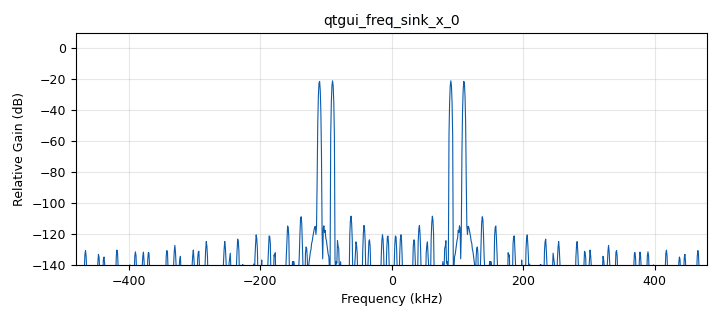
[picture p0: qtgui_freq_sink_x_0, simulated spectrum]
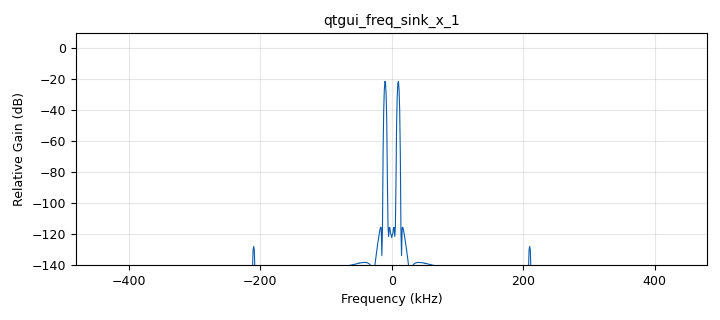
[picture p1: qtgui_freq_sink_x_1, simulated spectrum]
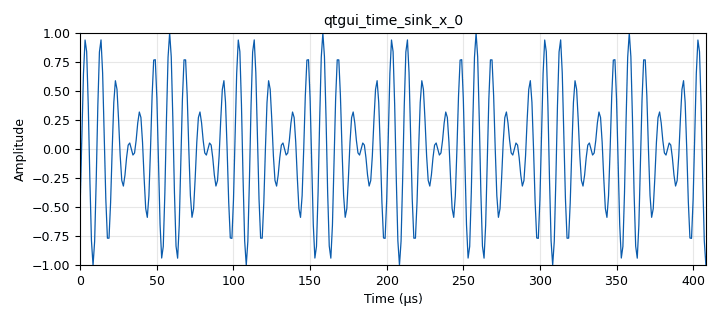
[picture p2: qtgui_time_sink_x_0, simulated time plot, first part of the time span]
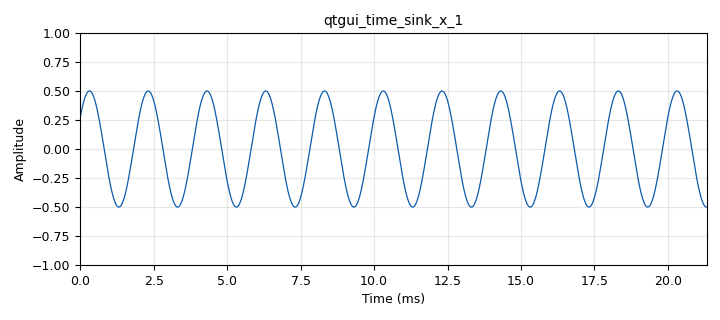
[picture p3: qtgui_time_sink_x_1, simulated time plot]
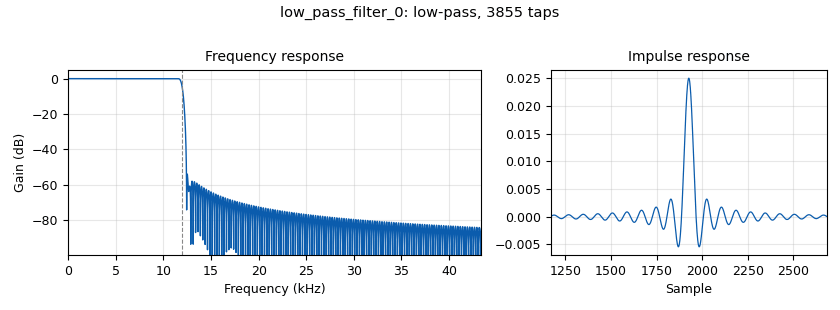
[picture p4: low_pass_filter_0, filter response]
options:
  parameters:
    generate_options: qt_gui
    id: dsbsc
    output_language: python
    title: Not titled yet
  states: {}

blocks:
- name: ka
  id: variable_qtgui_range
  parameters:
    start: '0'
    step: '0.1'
    stop: '1.2'
    value: '0.5'
  states: {}
- name: q_rate
  id: variable
  parameters:
    value: int(960e3)
  states: {}
- name: samp_rate
  id: variable
  parameters:
    value: '48000'
  states: {}
- name: analog_sig_source_x_0
  id: analog_sig_source_x
  parameters:
    amp: '1'
    freq: 100e3
    offset: '0'
    phase: '0'
    samp_rate: q_rate
    type: float
    waveform: analog.GR_COS_WAVE
  states: {}
- name: blocks_add_xx_0
  id: blocks_add_xx
  parameters:
    type: float
  states: {state: disabled}
- name: blocks_multiply_xx_0
  id: blocks_multiply_xx
  parameters:
    type: float
  states: {}
- name: blocks_multiply_xx_0_0
  id: blocks_multiply_xx
  parameters:
    type: float
  states: {}
- name: low_pass_filter_0
  id: low_pass_filter
  parameters:
    cutoff_freq: '12000'
    gain: '1'
    interp: '1'
    samp_rate: q_rate
    type: interp_fir_filter_fff
    width: '600'
    win: window.WIN_HAMMING
  states: {}
- name: message
  id: analog_sig_source_x
  parameters:
    amp: '1'
    freq: '10000'
    offset: '0'
    phase: '0'
    samp_rate: samp_rate
    type: float
    waveform: analog.GR_COS_WAVE
  states: {}
- name: mod_fac
  id: blocks_multiply_const_vxx
  parameters:
    const: ka
    type: float
  states: {state: bypassed}
- name: qtgui_freq_sink_x_0
  id: qtgui_freq_sink_x
  parameters:
    bw: q_rate
    fc: '0'
    fftsize: '1024'
    type: float
  states: {}
- name: qtgui_freq_sink_x_0_0
  id: qtgui_freq_sink_x
  parameters:
    bw: q_rate
    fc: '0'
    fftsize: '1024'
    type: float
  states: {state: disabled}
- name: qtgui_freq_sink_x_1
  id: qtgui_freq_sink_x
  parameters:
    bw: q_rate
    fc: '0'
    fftsize: '1024'
    type: float
  states: {}
- name: qtgui_time_sink_x_0
  id: qtgui_time_sink_x
  parameters:
    size: '1024'
    srate: q_rate
    type: float
  states: {}
- name: qtgui_time_sink_x_1
  id: qtgui_time_sink_x
  parameters:
    size: '1024'
    srate: samp_rate
    type: float
  states: {}
- name: rational_resampler_xxx_0
  id: rational_resampler_xxx
  parameters:
    decim: samp_rate
    interp: q_rate
    type: fff
  states: {}

connections:
- [analog_sig_source_x_0, '0', blocks_add_xx_0, '1']
- [analog_sig_source_x_0, '0', blocks_multiply_xx_0, '1']
- [analog_sig_source_x_0, '0', blocks_multiply_xx_0_0, '1']
- [blocks_add_xx_0, '0', qtgui_freq_sink_x_0, '0']
- [blocks_add_xx_0, '0', qtgui_time_sink_x_0, '0']
- [blocks_multiply_xx_0, '0', blocks_add_xx_0, '0']
- [blocks_multiply_xx_0, '0', blocks_multiply_xx_0_0, '0']
- [blocks_multiply_xx_0, '0', qtgui_freq_sink_x_0, '0']
- [blocks_multiply_xx_0, '0', qtgui_time_sink_x_0, '0']
- [blocks_multiply_xx_0_0, '0', low_pass_filter_0, '0']
- [blocks_multiply_xx_0_0, '0', qtgui_freq_sink_x_0_0, '0']
- [low_pass_filter_0, '0', qtgui_freq_sink_x_1, '0']
- [low_pass_filter_0, '0', qtgui_time_sink_x_1, '0']
- [message, '0', mod_fac, '0']
- [mod_fac, '0', rational_resampler_xxx_0, '0']
- [rational_resampler_xxx_0, '0', blocks_multiply_xx_0, '0']

metadata:
  file_format: 1
